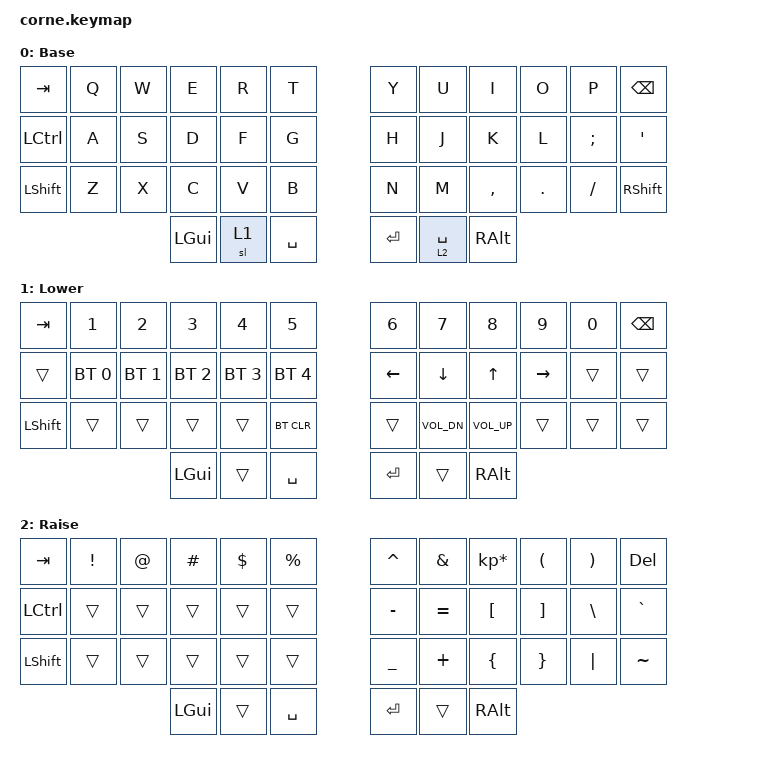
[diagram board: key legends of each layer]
/*
 * Copyright (c) 2020 The ZMK Contributors
 *
 * SPDX-License-Identifier: MIT
 */

#include <behaviors.dtsi>
#include <dt-bindings/zmk/keys.h>
#include <dt-bindings/zmk/bt.h>

/ {
        keymap {
                compatible = "zmk,keymap";

                default_layer {
// -----------------------------------------------------------------------------------------
// |  TAB |  Q  |  W  |  E  |  R  |  T  |   |  Y  |  U   |  I  |  O  |  P  | BKSP |
// | CTRL |  A  |  S  |  D  |  F  |  G  |   |  H  |  J   |  K  |  L  |  ;  |  '   |
// | SHFT |  Z  |  X  |  C  |  V  |  B  |   |  N  |  M   |  ,  |  .  |  /  | SHFT |
//                    | GUI | LWR | SPC |   | ENT | RSE SPC | ALT |
                        display-name = "Base";
                        bindings = <
   &kp TAB   &kp Q &kp W &kp E &kp R &kp T         &kp Y &kp U   &kp I     &kp O   &kp P    &kp BSPC
   &kp LCTRL &kp A &kp S &kp D &kp F &kp G         &kp H &kp J   &kp K     &kp L   &kp SEMI &kp SQT
   &kp LSHFT &kp Z &kp X &kp C &kp V &kp B         &kp N &kp M   &kp COMMA &kp DOT &kp FSLH &kp RSHFT
                  &kp LGUI &sl 1 &kp SPACE         &kp RET &lt 2 SPACE &kp RALT
                        >;
                };
                lower_layer {
// -----------------------------------------------------------------------------------------
// | TAB  | 1   | 2   | 3   | 4   | 5   |  | 6   | 7        | 8      | 9   | 0 | BKSP |
// |      | BT1 | BT2 | BT3 | BT4 | BT5 |  | LFT | DWN      | UP     | RGT |   |      |
// | SHFT |     |     |     |     | BTC |  |     | Vol Down | Vol Up |     |   |      |
//                    | GUI |     | SPC |  | ENT |          | ALT    |
                        display-name = "Lower";
                        bindings = <
   &kp TAB    &kp N1       &kp N2       &kp N3       &kp N4       &kp N5         &kp N6   &kp N7        &kp N8       &kp N9    &kp N0     &kp BSPC
   &trans     &bt BT_SEL 0 &bt BT_SEL 1 &bt BT_SEL 2 &bt BT_SEL 3 &bt BT_SEL 4   &kp LEFT &kp DOWN      &kp UP       &kp RIGHT &trans     &trans
   &kp LSHFT  &trans       &trans       &trans       &trans       &bt BT_CLR     &trans   &kp K_VOL_DN  &kp K_VOL_UP &trans    &trans     &trans
                                        &kp LGUI     &trans       &kp SPACE      &kp RET  &trans   &kp RALT
                        >;
                };

                raise_layer {
// -----------------------------------------------------------------------------------------
// |  TAB |  !  |  @  |  #  |  $  |  %  |   |  ^  |  &  |  *  |  (  |  )  | DEL  |
// | CTRL |     |     |     |     |     |   |  -  |  =  |  [  |  ]  |  \  |  `   |
// | SHFT |     |     |     |     |     |   |  _  |  +  |  {  |  }  | "|" |  ~   |
//                    | GUI |     | SPC |   | ENT |     | ALT |
                        display-name = "Raise";
                        bindings = <
   &kp  TAB  &kp EXCL &kp AT &kp HASH &kp DLLR &kp PRCNT   &kp CARET &kp AMPS  &kp KP_MULTIPLY &kp LPAR &kp RPAR &kp DEL
   &kp LCTRL &trans   &trans &trans   &trans   &trans      &kp MINUS &kp EQUAL &kp LBKT        &kp RBKT &kp BSLH &kp GRAVE
   &kp LSHFT &trans   &trans &trans   &trans   &trans      &kp UNDER &kp PLUS  &kp LBRC        &kp RBRC &kp PIPE &kp TILDE
                             &kp LGUI &trans   &kp SPACE   &kp RET   &trans    &kp RALT
                        >;
                };

                extra_1 {
                        status = "reserved";
                };

                extra_2 {
                        status = "reserved";
                };

                extra_3 {
                        status = "reserved";
                };
        };
};
